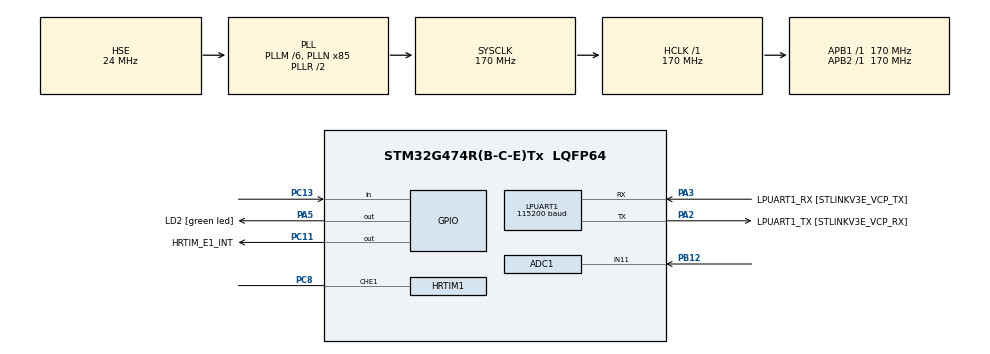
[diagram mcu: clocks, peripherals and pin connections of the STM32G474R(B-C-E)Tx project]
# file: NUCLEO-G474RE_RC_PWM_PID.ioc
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ADC1.Channel-0\#ChannelRegularConversion=ADC_CHANNEL_11
ADC1.ClockPrescaler=ADC_CLOCK_ASYNC_DIV4
ADC1.DMAContinuousRequests=ENABLE
ADC1.EOCSelection=ADC_EOC_SEQ_CONV
ADC1.EnableInjectedConversion=DISABLE
ADC1.ExternalTrigConv=ADC_EXTERNALTRIG_HRTIM_TRG1
ADC1.NbrOfConversionFlag=1
ADC1.OffsetNumber-0\#ChannelRegularConversion=ADC_OFFSET_NONE
ADC1.Overrun=ADC_OVR_DATA_OVERWRITTEN
ADC1.Rank-0\#ChannelRegularConversion=1
ADC1.Rank1_Channel=ADC_CHANNEL_11
ADC1.SamplingTime-0\#ChannelRegularConversion=ADC_SAMPLETIME_6CYCLES_5
ADC1.master=1
Dma.ADC1.0.Direction=DMA_PERIPH_TO_MEMORY
Dma.ADC1.0.EventEnable=DISABLE
Dma.ADC1.0.Instance=DMA1_Channel1
Dma.ADC1.0.MemDataAlignment=DMA_MDATAALIGN_HALFWORD
Dma.ADC1.0.MemInc=DMA_MINC_ENABLE
Dma.ADC1.0.Mode=DMA_CIRCULAR
Dma.ADC1.0.PeriphDataAlignment=DMA_PDATAALIGN_HALFWORD
Dma.ADC1.0.PeriphInc=DMA_PINC_DISABLE
Dma.ADC1.0.Polarity=HAL_DMAMUX_REQ_GEN_RISING
Dma.ADC1.0.Priority=DMA_PRIORITY_LOW
Dma.ADC1.0.RequestNumber=1
Dma.ADC1.0.SignalID=NONE
Dma.ADC1.0.SyncEnable=DISABLE
Dma.ADC1.0.SyncPolarity=HAL_DMAMUX_SYNC_NO_EVENT
Dma.ADC1.0.SyncRequestNumber=1
Dma.ADC1.0.SyncSignalID=NONE
Dma.Request0=ADC1
HRTIM1.ADCTrigger1_Source1=HRTIM_ADCTRIGGEREVENT13_TIMERE_CMP3
HRTIM1.ADCTrigger_Id1=HRTIM_ADCTRIGGER_1
HRTIM1.CompareUnit1-Output_TE1=HRTIM_COMPAREUNIT_1
HRTIM1.CompareUnit2-Output_TE1=__NULL
HRTIM1.CompareUnit3-Output_TE1=HRTIM_COMPAREUNIT_3
HRTIM1.CompareValue1-Output_TE1=0
HRTIM1.CompareValue3-Output_TE1=27000
HRTIM1.Event_EEV1=__NULL
HRTIM1.HRTIMInterruptResquests1=HRTIM_IT_NONE
HRTIM1.HRTIMInterruptResquests2=HRTIM_IT_NONE
HRTIM1.HRTIMInterruptResquests3=HRTIM_IT_NONE
HRTIM1.InterruptRequests1-Output_TE1=HRTIM_TIM_IT_UPD
HRTIM1.NumberADCTriggerSource1=1
HRTIM1.NumberFaultEnable-Output_TE1=0
HRTIM1.NumberInterruptRequests-Output_TE1=1
HRTIM1.NumberResetSource1-Output_TE1=1
HRTIM1.NumberResetTrigger-Output_TE1=0
HRTIM1.NumberSetSource1-Output_TE1=1
HRTIM1.NumberUpdateTrigger-Output_TE1=0
HRTIM1.ORingUpdateSource_ADCTrigger1=HRTIM_ADCTRIGGERUPDATE_TIMER_E
HRTIM1.Periode_TE=27200
HRTIM1.PreloadEnable-Output_TE1=HRTIM_PRELOAD_ENABLED
HRTIM1.PrescalerRatio_TE=HRTIM_PRESCALERRATIO_MUL8
HRTIM1.ReSyncUpdate-Output_TE1=HRTIM_TIMERESYNC_UPDATE_UNCONDITIONAL
HRTIM1.RepetitionCounter-Output_TE1=1
HRTIM1.RepetitionUpdate-Output_TE1=HRTIM_UPDATEONREPETITION_DISABLED
HRTIM1.ResetOutput1_Source1-Output_TE1=HRTIM_OUTPUTRESET_TIMCMP1
HRTIM1.ResetUpdate-Output_TE1=HRTIM_TIMUPDATEONRESET_ENABLED
HRTIM1.SetOutput1_Source1-Output_TE1=HRTIM_OUTPUTSET_TIMPER
LPUART1.BaudRate=115200
LPUART1.WordLength=UART_WORDLENGTH_8B
Mcu.Family=STM32G4
Mcu.Name=STM32G474R(B-C-E)Tx
Mcu.Package=LQFP64
NVIC.DMA1_Channel1_IRQn=true\:0\:0\:false\:false\:true\:true\:true
NVIC.PriorityGroup=NVIC_PRIORITYGROUP_4
PA13.GPIO_Label=T_SWDIO
PA13.Mode=Trace_Asynchronous_SW
PA13.Signal=SYS_JTMS-SWDIO
PA14.GPIO_Label=T_SWCLK
PA14.Mode=Trace_Asynchronous_SW
PA14.Signal=SYS_JTCK-SWCLK
PA2.GPIO_Label=LPUART1_TX [STLINKV3E_VCP_RX]
PA2.Mode=Asynchronous
PA2.Signal=LPUART1_TX
PA3.GPIO_Label=LPUART1_RX [STLINKV3E_VCP_TX]
PA3.Mode=Asynchronous
PA3.Signal=LPUART1_RX
PA5.GPIO_Label=LD2 [green led]
PA5.Signal=GPIO_Output
PB12.Mode=IN11-Single-Ended
PB12.Signal=ADC1_IN11
PB3.GPIO_Label=T_SWO
PB3.Mode=Trace_Asynchronous_SW
PB3.Signal=SYS_JTDO-SWO
PC11.GPIO_Label=HRTIM_E1_INT
PC11.GPIO_Speed=GPIO_SPEED_FREQ_LOW
PC11.Signal=GPIO_Output
PC13.GPIO_PuPd=GPIO_NOPULL
PC13.Signal=GPIO_Input
PC14-OSC32_IN.Mode=LSE-External-Oscillator
PC14-OSC32_IN.Signal=RCC_OSC32_IN
PC15-OSC32_OUT.Mode=LSE-External-Oscillator
PC15-OSC32_OUT.Signal=RCC_OSC32_OUT
PC8.GPIO_Speed_High_Default=GPIO_SPEED_FREQ_LOW
PC8.Mode=Output_TE1
PC8.Signal=HRTIM1_CHE1
PF0-OSC_IN.Mode=HSE-External-Oscillator
PF0-OSC_IN.Signal=RCC_OSC_IN
PF1-OSC_OUT.Mode=HSE-External-Oscillator
PF1-OSC_OUT.Signal=RCC_OSC_OUT
ProjectManager.HeapSize=0x200
ProjectManager.StackSize=0x400
ProjectManager.TargetToolchain=STM32CubeIDE
RCC.ADC12Freq_Value=170000000
RCC.ADC345Freq_Value=170000000
RCC.AHBFreq_Value=170000000
RCC.APB1Freq_Value=170000000
RCC.APB1TimFreq_Value=170000000
RCC.APB2Freq_Value=170000000
RCC.APB2TimFreq_Value=170000000
RCC.CortexFreq_Value=170000000
RCC.EXTERNAL_CLOCK_VALUE=12288000
RCC.HCLKFreq_Value=170000000
RCC.HSE_VALUE=24000000
RCC.HSI48_VALUE=48000000
RCC.HSI_VALUE=16000000
RCC.PLLM=RCC_PLLM_DIV6
RCC.PLLN=85
RCC.PLLSourceVirtual=RCC_PLLSOURCE_HSE
RCC.RTCClockSelection=RCC_RTCCLKSOURCE_LSE
RCC.SYSCLKFreq_VALUE=170000000
RCC.SYSCLKSource=RCC_SYSCLKSOURCE_PLLCLK
RCC.USBFreq_Value=170000000
RCC.VCOOutputFreq_Value=340000000
VP_SYS_VS_DBSignals.Mode=DisableDeadBatterySignals
board=NUCLEO-G474RE

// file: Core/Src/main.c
/* USER CODE BEGIN Header */
/**
  ******************************************************************************
  * @file           : main.c
  * @brief          : Main program body
  ******************************************************************************
  * @attention
  *
  * <h2><center>&copy; Copyright (c) 2021 STMicroelectronics.
  * All rights reserved.</center></h2>
  *
  * This software component is licensed by ST under BSD 3-Clause license,
  * the "License"; You may not use this file except in compliance with the
  * License. You may obtain a copy of the License at:
  *                        opensource.org/licenses/BSD-3-Clause
  *
  ******************************************************************************
  */
/* USER CODE END Header */
#include "main.h"

/* USER CODE BEGIN PD */

#define FMAC_WDATA (0x40021418);
#define MAX_PHASE 27180
#define MIN_PHASE 30
#define SAT_LIMIT 25000

/* USER CODE END PD */

ADC_HandleTypeDef hadc1;
DMA_HandleTypeDef hdma_adc1;

HRTIM_HandleTypeDef hhrtim1;

UART_HandleTypeDef hlpuart1;

/* USER CODE BEGIN PV */

__IO uint16_t Vout = 0U;
uint32_t Vtarget, pid_out_last, pid_out;
volatile int32_t error, last_error, errorProp, errorIntgr, errorDiff;
uint16_t Kp = 1;
uint16_t Ki = 100;
uint16_t Kd = 100;

/* USER CODE END PV */

void SystemClock_Config(void);
static void MX_GPIO_Init(void);
static void MX_DMA_Init(void);
static void MX_LPUART1_UART_Init(void);
static void MX_HRTIM1_Init(void);
static void MX_ADC1_Init(void);
/* USER CODE BEGIN PFP */

static void VT_HRTIM1_Start_Output(void);
static void VT_PID_Controller(void);

/* USER CODE END PFP */

/* USER CODE BEGIN 0 */

//&Vout = (uint32_t *) FMAC_WDATA;

/* USER CODE END 0 */

int main(void)
{
  /* USER CODE BEGIN 1 */

//	Fmac_Wdata = (uint32_t *) FMAC_WDATA;
//	Vout = *Fmac_Wdata;

  /* USER CODE END 1 */

  /* MCU Configuration--------------------------------------------------------*/

  /* Reset of all peripherals, Initializes the Flash interface and the Systick. */
  HAL_Init();

  /* Configure the system clock */
  SystemClock_Config();

  /* Initialize all configured peripherals */
  MX_GPIO_Init();
  MX_DMA_Init();
  MX_LPUART1_UART_Init();
  MX_HRTIM1_Init();
  MX_ADC1_Init();
  /* USER CODE BEGIN 2 */

  /* Run the ADC calibration in single-ended mode */
  if (HAL_ADCEx_Calibration_Start(&hadc1, ADC_SINGLE_ENDED) != HAL_OK)
  {
    /* Calibration Error */
    Error_Handler();
  }

  /* Start ADC group regular conversion with DMA */
  if (HAL_ADC_Start_DMA(&hadc1,
                        (uint32_t *)&Vout,
                        1
                       ) != HAL_OK)
  {
    /* ADC conversion start error */
    Error_Handler();
  }

//  /* Start ADC group regular conversion with IT */
//  if (HAL_ADC_Start_IT(&hadc1) != HAL_OK)
//  {
//    /* ADC conversion start error */
//    Error_Handler();
//  }

  VT_HRTIM1_Start_Output();

  while(!HAL_GPIO_ReadPin(GPIOC, GPIO_PIN_13))
  {
//	  errorProp = 0;
//	  errorIntgr = 0;
//	  errorDiff = 0;
	  HRTIM1->sTimerxRegs[HRTIM_TIMERINDEX_TIMER_E].CMP1xR = 0;
  }

  Vtarget = 2500;

  /* USER CODE END 2 */

  /* Infinite loop */
  /* USER CODE BEGIN WHILE */
  while (1)
  {

//	  GPIOC->BSRR = (1<<11); // start
//	  HAL_Delay(100);
//	  GPIOC->BSRR = (1<<(11+16)); // end + 16
//	  HAL_Delay(100);

    /* USER CODE END WHILE */

  }
}

void SystemClock_Config(void)
{
  RCC_OscInitTypeDef RCC_OscInitStruct = {0};
  RCC_ClkInitTypeDef RCC_ClkInitStruct = {0};
  RCC_PeriphCLKInitTypeDef PeriphClkInit = {0};

  /** Configure the main internal regulator output voltage
  */
  HAL_PWREx_ControlVoltageScaling(PWR_REGULATOR_VOLTAGE_SCALE1_BOOST);
  /** Initializes the RCC Oscillators according to the specified parameters
  * in the RCC_OscInitTypeDef structure.
  */
  RCC_OscInitStruct.OscillatorType = RCC_OSCILLATORTYPE_HSE;
  RCC_OscInitStruct.HSEState = RCC_HSE_ON;
  RCC_OscInitStruct.PLL.PLLState = RCC_PLL_ON;
  RCC_OscInitStruct.PLL.PLLSource = RCC_PLLSOURCE_HSE;
  RCC_OscInitStruct.PLL.PLLM = RCC_PLLM_DIV6;
  RCC_OscInitStruct.PLL.PLLN = 85;
  RCC_OscInitStruct.PLL.PLLP = RCC_PLLP_DIV2;
  RCC_OscInitStruct.PLL.PLLQ = RCC_PLLQ_DIV2;
  RCC_OscInitStruct.PLL.PLLR = RCC_PLLR_DIV2;
  if (HAL_RCC_OscConfig(&RCC_OscInitStruct) != HAL_OK)
  {
    Error_Handler();
  }
  /** Initializes the CPU, AHB and APB buses clocks
  */
  RCC_ClkInitStruct.ClockType = RCC_CLOCKTYPE_HCLK|RCC_CLOCKTYPE_SYSCLK
                              |RCC_CLOCKTYPE_PCLK1|RCC_CLOCKTYPE_PCLK2;
  RCC_ClkInitStruct.SYSCLKSource = RCC_SYSCLKSOURCE_PLLCLK;
  RCC_ClkInitStruct.AHBCLKDivider = RCC_SYSCLK_DIV1;
  RCC_ClkInitStruct.APB1CLKDivider = RCC_HCLK_DIV1;
  RCC_ClkInitStruct.APB2CLKDivider = RCC_HCLK_DIV1;

  if (HAL_RCC_ClockConfig(&RCC_ClkInitStruct, FLASH_LATENCY_4) != HAL_OK)
  {
    Error_Handler();
  }
  /** Initializes the peripherals clocks
  */
  PeriphClkInit.PeriphClockSelection = RCC_PERIPHCLK_LPUART1|RCC_PERIPHCLK_ADC12;
  PeriphClkInit.Lpuart1ClockSelection = RCC_LPUART1CLKSOURCE_PCLK1;
  PeriphClkInit.Adc12ClockSelection = RCC_ADC12CLKSOURCE_SYSCLK;
  if (HAL_RCCEx_PeriphCLKConfig(&PeriphClkInit) != HAL_OK)
  {
    Error_Handler();
  }
}

static void MX_ADC1_Init(void)
{

  ADC_MultiModeTypeDef multimode = {0};
  ADC_ChannelConfTypeDef sConfig = {0};

  /** Common config
  */
  hadc1.Instance = ADC1;
  hadc1.Init.ClockPrescaler = ADC_CLOCK_ASYNC_DIV4;
  hadc1.Init.Resolution = ADC_RESOLUTION_12B;
  hadc1.Init.DataAlign = ADC_DATAALIGN_RIGHT;
  hadc1.Init.GainCompensation = 0;
  hadc1.Init.ScanConvMode = ADC_SCAN_DISABLE;
  hadc1.Init.EOCSelection = ADC_EOC_SEQ_CONV;
  hadc1.Init.LowPowerAutoWait = DISABLE;
  hadc1.Init.ContinuousConvMode = DISABLE;
  hadc1.Init.NbrOfConversion = 1;
  hadc1.Init.DiscontinuousConvMode = DISABLE;
  hadc1.Init.ExternalTrigConv = ADC_EXTERNALTRIG_HRTIM_TRG1;
  hadc1.Init.ExternalTrigConvEdge = ADC_EXTERNALTRIGCONVEDGE_RISING;
  hadc1.Init.DMAContinuousRequests = ENABLE;
  hadc1.Init.Overrun = ADC_OVR_DATA_OVERWRITTEN;
  hadc1.Init.OversamplingMode = DISABLE;
  if (HAL_ADC_Init(&hadc1) != HAL_OK)
  {
    Error_Handler();
  }
  /** Configure the ADC multi-mode
  */
  multimode.Mode = ADC_MODE_INDEPENDENT;
  if (HAL_ADCEx_MultiModeConfigChannel(&hadc1, &multimode) != HAL_OK)
  {
    Error_Handler();
  }
  /** Configure Regular Channel
  */
  sConfig.Channel = ADC_CHANNEL_11;
  sConfig.Rank = ADC_REGULAR_RANK_1;
  sConfig.SamplingTime = ADC_SAMPLETIME_6CYCLES_5;
  sConfig.SingleDiff = ADC_SINGLE_ENDED;
  sConfig.OffsetNumber = ADC_OFFSET_NONE;
  sConfig.Offset = 0;
  if (HAL_ADC_ConfigChannel(&hadc1, &sConfig) != HAL_OK)
  {
    Error_Handler();
  }

}

static void MX_HRTIM1_Init(void)
{

  HRTIM_ADCTriggerCfgTypeDef pADCTriggerCfg = {0};
  HRTIM_TimeBaseCfgTypeDef pTimeBaseCfg = {0};
  HRTIM_TimerCtlTypeDef pTimerCtl = {0};
  HRTIM_TimerCfgTypeDef pTimerCfg = {0};
  HRTIM_CompareCfgTypeDef pCompareCfg = {0};
  HRTIM_OutputCfgTypeDef pOutputCfg = {0};

  hhrtim1.Instance = HRTIM1;
  hhrtim1.Init.HRTIMInterruptResquests = HRTIM_IT_NONE;
  hhrtim1.Init.SyncOptions = HRTIM_SYNCOPTION_NONE;
  if (HAL_HRTIM_Init(&hhrtim1) != HAL_OK)
  {
    Error_Handler();
  }
  if (HAL_HRTIM_DLLCalibrationStart(&hhrtim1, HRTIM_CALIBRATIONRATE_3) != HAL_OK)
  {
    Error_Handler();
  }
  if (HAL_HRTIM_PollForDLLCalibration(&hhrtim1, 10) != HAL_OK)
  {
    Error_Handler();
  }
  pADCTriggerCfg.UpdateSource = HRTIM_ADCTRIGGERUPDATE_TIMER_E;
  pADCTriggerCfg.Trigger = HRTIM_ADCTRIGGEREVENT13_TIMERE_CMP3;
  if (HAL_HRTIM_ADCTriggerConfig(&hhrtim1, HRTIM_ADCTRIGGER_1, &pADCTriggerCfg) != HAL_OK)
  {
    Error_Handler();
  }
  if (HAL_HRTIM_ADCPostScalerConfig(&hhrtim1, HRTIM_ADCTRIGGER_1, 0x0) != HAL_OK)
  {
    Error_Handler();
  }
  pTimeBaseCfg.Period = 27200;
  pTimeBaseCfg.RepetitionCounter = 1;
  pTimeBaseCfg.PrescalerRatio = HRTIM_PRESCALERRATIO_MUL8;
  pTimeBaseCfg.Mode = HRTIM_MODE_CONTINUOUS;
  if (HAL_HRTIM_TimeBaseConfig(&hhrtim1, HRTIM_TIMERINDEX_TIMER_E, &pTimeBaseCfg) != HAL_OK)
  {
    Error_Handler();
  }
  pTimerCtl.UpDownMode = HRTIM_TIMERUPDOWNMODE_UP;
  pTimerCtl.GreaterCMP3 = HRTIM_TIMERGTCMP3_EQUAL;
  pTimerCtl.GreaterCMP1 = HRTIM_TIMERGTCMP1_EQUAL;
  pTimerCtl.DualChannelDacEnable = HRTIM_TIMER_DCDE_DISABLED;
  if (HAL_HRTIM_WaveformTimerControl(&hhrtim1, HRTIM_TIMERINDEX_TIMER_E, &pTimerCtl) != HAL_OK)
  {
    Error_Handler();
  }
  pTimerCfg.InterruptRequests = HRTIM_MASTER_IT_NONE;
  pTimerCfg.DMARequests = HRTIM_TIM_DMA_NONE;
  pTimerCfg.DMASrcAddress = 0x0000;
  pTimerCfg.DMADstAddress = 0x0000;
  pTimerCfg.DMASize = 0x1;
  pTimerCfg.HalfModeEnable = HRTIM_HALFMODE_DISABLED;
  pTimerCfg.InterleavedMode = HRTIM_INTERLEAVED_MODE_DISABLED;
  pTimerCfg.StartOnSync = HRTIM_SYNCSTART_DISABLED;
  pTimerCfg.ResetOnSync = HRTIM_SYNCRESET_DISABLED;
  pTimerCfg.DACSynchro = HRTIM_DACSYNC_NONE;
  pTimerCfg.PreloadEnable = HRTIM_PRELOAD_ENABLED;
  pTimerCfg.UpdateGating = HRTIM_UPDATEGATING_INDEPENDENT;
  pTimerCfg.BurstMode = HRTIM_TIMERBURSTMODE_MAINTAINCLOCK;
  pTimerCfg.RepetitionUpdate = HRTIM_UPDATEONREPETITION_DISABLED;
  pTimerCfg.PushPull = HRTIM_TIMPUSHPULLMODE_DISABLED;
  pTimerCfg.FaultEnable = HRTIM_TIMFAULTENABLE_NONE;
  pTimerCfg.FaultLock = HRTIM_TIMFAULTLOCK_READWRITE;
  pTimerCfg.DeadTimeInsertion = HRTIM_TIMDEADTIMEINSERTION_DISABLED;
  pTimerCfg.DelayedProtectionMode = HRTIM_TIMER_D_E_DELAYEDPROTECTION_DISABLED;
  pTimerCfg.UpdateTrigger = HRTIM_TIMUPDATETRIGGER_NONE;
  pTimerCfg.ResetTrigger = HRTIM_TIMRESETTRIGGER_NONE;
  pTimerCfg.ResetUpdate = HRTIM_TIMUPDATEONRESET_ENABLED;
  pTimerCfg.ReSyncUpdate = HRTIM_TIMERESYNC_UPDATE_UNCONDITIONAL;
  if (HAL_HRTIM_WaveformTimerConfig(&hhrtim1, HRTIM_TIMERINDEX_TIMER_E, &pTimerCfg) != HAL_OK)
  {
    Error_Handler();
  }
  pCompareCfg.CompareValue = 0;
  if (HAL_HRTIM_WaveformCompareConfig(&hhrtim1, HRTIM_TIMERINDEX_TIMER_E, HRTIM_COMPAREUNIT_1, &pCompareCfg) != HAL_OK)
  {
    Error_Handler();
  }
  pCompareCfg.CompareValue = 27000;
  if (HAL_HRTIM_WaveformCompareConfig(&hhrtim1, HRTIM_TIMERINDEX_TIMER_E, HRTIM_COMPAREUNIT_3, &pCompareCfg) != HAL_OK)
  {
    Error_Handler();
  }
  pOutputCfg.Polarity = HRTIM_OUTPUTPOLARITY_HIGH;
  pOutputCfg.SetSource = HRTIM_OUTPUTSET_TIMPER;
  pOutputCfg.ResetSource = HRTIM_OUTPUTRESET_TIMCMP1;
  pOutputCfg.IdleMode = HRTIM_OUTPUTIDLEMODE_NONE;
  pOutputCfg.IdleLevel = HRTIM_OUTPUTIDLELEVEL_INACTIVE;
  pOutputCfg.FaultLevel = HRTIM_OUTPUTFAULTLEVEL_NONE;
  pOutputCfg.ChopperModeEnable = HRTIM_OUTPUTCHOPPERMODE_DISABLED;
  pOutputCfg.BurstModeEntryDelayed = HRTIM_OUTPUTBURSTMODEENTRY_REGULAR;
  if (HAL_HRTIM_WaveformOutputConfig(&hhrtim1, HRTIM_TIMERINDEX_TIMER_E, HRTIM_OUTPUT_TE1, &pOutputCfg) != HAL_OK)
  {
    Error_Handler();
  }
  HAL_HRTIM_MspPostInit(&hhrtim1);

}

static void MX_LPUART1_UART_Init(void)
{

  hlpuart1.Instance = LPUART1;
  hlpuart1.Init.BaudRate = 115200;
  hlpuart1.Init.WordLength = UART_WORDLENGTH_8B;
  hlpuart1.Init.StopBits = UART_STOPBITS_1;
  hlpuart1.Init.Parity = UART_PARITY_NONE;
  hlpuart1.Init.Mode = UART_MODE_TX_RX;
  hlpuart1.Init.HwFlowCtl = UART_HWCONTROL_NONE;
  hlpuart1.Init.OneBitSampling = UART_ONE_BIT_SAMPLE_DISABLE;
  hlpuart1.Init.ClockPrescaler = UART_PRESCALER_DIV1;
  hlpuart1.AdvancedInit.AdvFeatureInit = UART_ADVFEATURE_NO_INIT;
  if (HAL_UART_Init(&hlpuart1) != HAL_OK)
  {
    Error_Handler();
  }
  if (HAL_UARTEx_SetTxFifoThreshold(&hlpuart1, UART_TXFIFO_THRESHOLD_1_8) != HAL_OK)
  {
    Error_Handler();
  }
  if (HAL_UARTEx_SetRxFifoThreshold(&hlpuart1, UART_RXFIFO_THRESHOLD_1_8) != HAL_OK)
  {
    Error_Handler();
  }
  if (HAL_UARTEx_DisableFifoMode(&hlpuart1) != HAL_OK)
  {
    Error_Handler();
  }

}

static void MX_DMA_Init(void)
{

  /* DMA controller clock enable */
  __HAL_RCC_DMAMUX1_CLK_ENABLE();
  __HAL_RCC_DMA1_CLK_ENABLE();

  /* DMA interrupt init */
  /* DMA1_Channel1_IRQn interrupt configuration */
  HAL_NVIC_SetPriority(DMA1_Channel1_IRQn, 0, 0);
  HAL_NVIC_EnableIRQ(DMA1_Channel1_IRQn);

}

static void MX_GPIO_Init(void)
{
  GPIO_InitTypeDef GPIO_InitStruct = {0};

  /* GPIO Ports Clock Enable */
  __HAL_RCC_GPIOC_CLK_ENABLE();
  __HAL_RCC_GPIOF_CLK_ENABLE();
  __HAL_RCC_GPIOA_CLK_ENABLE();
  __HAL_RCC_GPIOB_CLK_ENABLE();

  /*Configure GPIO pin Output Level */
  HAL_GPIO_WritePin(LD2_GPIO_Port, LD2_Pin, GPIO_PIN_RESET);

  /*Configure GPIO pin Output Level */
  HAL_GPIO_WritePin(HRTIM_E1_INT_GPIO_Port, HRTIM_E1_INT_Pin, GPIO_PIN_RESET);

  /*Configure GPIO pin : PC13 */
  GPIO_InitStruct.Pin = GPIO_PIN_13;
  GPIO_InitStruct.Mode = GPIO_MODE_INPUT;
  GPIO_InitStruct.Pull = GPIO_NOPULL;
  HAL_GPIO_Init(GPIOC, &GPIO_InitStruct);

  /*Configure GPIO pin : LD2_Pin */
  GPIO_InitStruct.Pin = LD2_Pin;
  GPIO_InitStruct.Mode = GPIO_MODE_OUTPUT_PP;
  GPIO_InitStruct.Pull = GPIO_NOPULL;
  GPIO_InitStruct.Speed = GPIO_SPEED_FREQ_LOW;
  HAL_GPIO_Init(LD2_GPIO_Port, &GPIO_InitStruct);

  /*Configure GPIO pin : HRTIM_E1_INT_Pin */
  GPIO_InitStruct.Pin = HRTIM_E1_INT_Pin;
  GPIO_InitStruct.Mode = GPIO_MODE_OUTPUT_PP;
  GPIO_InitStruct.Pull = GPIO_NOPULL;
  GPIO_InitStruct.Speed = GPIO_SPEED_FREQ_LOW;
  HAL_GPIO_Init(HRTIM_E1_INT_GPIO_Port, &GPIO_InitStruct);

}

/* USER CODE BEGIN 4 */

static void VT_HRTIM1_Start_Output(void)
{
	//hhrtim1.Instance = HRTIM1;

//	HAL_HRTIM_WaveformOutputStart(&hhrtim1, HRTIM_OUTPUT_TE1 | HRTIM_OUTPUT_TE2 | HRTIM_OUTPUT_TF1 | HRTIM_OUTPUT_TF2);
//	HAL_HRTIM_WaveformCountStart_IT(&hhrtim1, HRTIM_TIMERID_MASTER | HRTIM_TIMERID_TIMER_A | HRTIM_TIMERID_TIMER_E | HRTIM_TIMERID_TIMER_F);

	HAL_HRTIM_WaveformOutputStart(&hhrtim1, HRTIM_OUTPUT_TE1 );
	HAL_HRTIM_WaveformCountStart_IT(&hhrtim1, HRTIM_TIMERID_TIMER_E);

}

void VT_PID_Controller(void)
{

	last_error = error;
	error = Vtarget - Vout;

	errorProp = (Kp * error) / 10;
	errorIntgr = errorIntgr + ((Ki * error) / 10);
	errorDiff = error / Kd;

	// check if the change is so much to prevent oscillations, see below "pid_out_diff"
	pid_out_last = pid_out;

	if (errorIntgr > SAT_LIMIT)
	{
		errorIntgr = SAT_LIMIT;
	}
	if (errorIntgr < -(SAT_LIMIT))
	{
		errorIntgr = -(SAT_LIMIT);
	}

	// my understanding
	//pid_out = Kp * error + errorSum * Ki + Kd * errorRate;

	// from FW
	/*
	seterr = (-Kp * error) / 200;
	Int_term_Buck = Int_term_Buck + ((-Ki * error) / 200);
	pid_out = seterr + Int_term_Buck;
	 */
	pid_out =  errorProp + errorIntgr + errorDiff;

	if (pid_out >= MAX_PHASE)
	{
		pid_out = MAX_PHASE;
	}

	if (pid_out < MIN_PHASE)
	{
		pid_out = MIN_PHASE;
	}

	//HRTIM1->sMasterRegs.MCMP1R = CurrentPhase;
	HRTIM1->sTimerxRegs[HRTIM_TIMERINDEX_TIMER_E].CMP1xR = pid_out;
	//__HAL_HRTIM_SETCOMPARE( &hhrtim1, HRTIM_TIMERINDEX_TIMER_E, HRTIM_COMPAREUNIT_1, pid_out);

	// check if the change is so much to prevent oscillations, see above "pid_out_last"
	// pid_out_diff = pid_out - pid_out_last;

}

void HAL_ADC_ConvCpltCallback(ADC_HandleTypeDef *hadc)
{
  /* Prevent unused argument(s) compilation warning */
  UNUSED(hadc);

  /* NOTE : This function should not be modified. When the callback is needed,
            function HAL_ADC_ConvCpltCallback must be implemented in the user file.
   */
  GPIOC->BSRR = (1<<11); // start
  GPIOC->BSRR = (1<<(11+16)); // end + 16

  VT_PID_Controller();

}

/* USER CODE END 4 */

void Error_Handler(void)
{
  __disable_irq();
  while (1)
  {
  }
}

/************************ (C) COPYRIGHT STMicroelectronics *****END OF FILE****/
